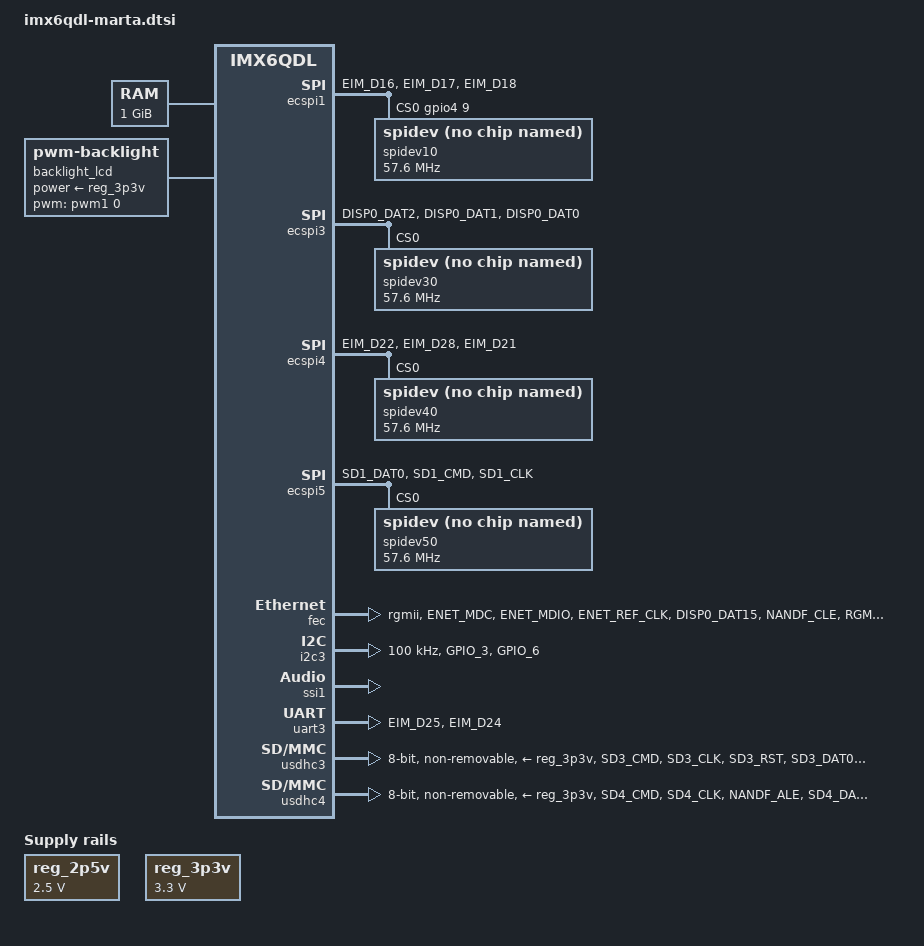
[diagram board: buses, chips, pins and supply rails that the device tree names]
/*
 * Copyright 2011-2015 Freescale Semiconductor, Inc.
 * Copyright 2011 Linaro Ltd.
 *
 * The code contained herein is licensed under the GNU General Public
 * License. You may obtain a copy of the GNU General Public License
 * Version 2 or later at the following locations:
 *
 * http://www.opensource.org/licenses/gpl-license.html
 * http://www.gnu.org/copyleft/gpl.html
 */
#include <dt-bindings/gpio/gpio.h>
#include <dt-bindings/input/input.h>

/ {
	
	chosen {
		stdout-path = &uart3;
	};

	memory {
		reg = <0x10000000 0x40000000>;
	};

	regulators {
		compatible = "simple-bus";
		#address-cells = <1>;
		#size-cells = <0>;

		reg_2p5v: regulator@0 {
			compatible = "regulator-fixed";
			reg = <0>;
			regulator-name = "2P5V";
			regulator-min-microvolt = <2500000>;
			regulator-max-microvolt = <2500000>;
			regulator-always-on;
		};

		reg_3p3v: regulator@1 {
			compatible = "regulator-fixed";
			reg = <1>;
			regulator-name = "3P3V";
			regulator-min-microvolt = <3300000>;
			regulator-max-microvolt = <3300000>;
			regulator-always-on;
		};

		//reg_usb_otg_vbus: regulator@2 {
			//compatible = "regulator-fixed";
			//reg = <2>;
			//regulator-name = "usb_otg_vbus";
			//regulator-min-microvolt = <5000000>;
			//regulator-max-microvolt = <5000000>;
			//gpio = <&gpio3 22 0>;
			//enable-active-high;
		//};
	};

	//gpio-keys {
		//compatible = "gpio-keys";
		//pinctrl-names = "default";
		//pinctrl-0 = <&pinctrl_gpio_keys>;

		//power {
			//label = "Power Button";
			//gpios = <&gpio2 3 GPIO_ACTIVE_LOW>;
			//linux,code = <KEY_POWER>;
			//gpio-key,wakeup;
		//};

		//menu {
			//label = "Menu";
			//gpios = <&gpio2 1 GPIO_ACTIVE_LOW>;
			//linux,code = <KEY_MENU>;
		//};

		//home {
			//label = "Home";
			//gpios = <&gpio2 4 GPIO_ACTIVE_LOW>;
			//linux,code = <KEY_HOME>;
		//};

		//back {
			//label = "Back";
			//gpios = <&gpio2 2 GPIO_ACTIVE_LOW>;
			//linux,code = <KEY_BACK>;
		//};

		//volume-up {
			//label = "Volume Up";
			//gpios = <&gpio7 13 GPIO_ACTIVE_LOW>;
			//linux,code = <KEY_VOLUMEUP>;
		//};

		//volume-down {
			//label = "Volume Down";
			//gpios = <&gpio4 5 GPIO_ACTIVE_LOW>;
			//linux,code = <KEY_VOLUMEDOWN>;
		//};
	//};

	//sound {
		//compatible = "fsl,imx6q-sabrelite-sgtl5000",
			     //"fsl,imx-audio-sgtl5000";
		//model = "imx6q-sabrelite-sgtl5000";
		//ssi-controller = <&ssi1>;
		//audio-codec = <&codec>;
		//audio-routing =
			//"MIC_IN", "Mic Jack",
			//"Mic Jack", "Mic Bias",
			//"Headphone Jack", "HP_OUT";
		//mux-int-port = <1>;
		//mux-ext-port = <4>;
	//};

	backlight_lcd {
		compatible = "pwm-backlight";
		pwms = <&pwm1 0 500>;
		brightness-levels = <0 1 2 3 4 5 6 7 8 9 10 11 12 13 14 15 16 17 18 19 20 21 22 23 24 25 26 27 28 29 30 31 32 33 34 35 36 37 38 39 40 41 42 43 44 45 46 47 48 49 50 51 52 53 54 55 56 57 58 59 60 61 62 63 64 65 66 67 68 69 70 71 72 73 74 75 76 77 78 79 80 81 82 83 84 85 86 87 88 89 90 91 92 93 94 95 96 97 98 99 100 101 102 103 104 105 106 107 108 109 110 111 112 113 114 115 116 117 118 119 120 121 122 123 124 125 126 127 128 129 130 131 132 133 134 135 136 137 138 139 140 141 142 143 144 145 146 147 148 149 150 151 152 153 154 155 156 157 158 159 160 161 162 163 164 165 166 167 168 169 170 171 172 173 174 175 176 177 178 179 180 181 182 183 184 185 186 187 188 189 190 191 192 193 194 195 196 197 198 199 200 201 202 203 204 205 206 207 208 209 210 211 212 213 214 215 216 217 218 219 220 221 22 223 224 225 226 227 228 229 230 231 232 233 234 235 236 237 238 239 240 241 242 243 244 245 246 247 248 249 250 251 252 253 254 255>;
		default-brightness-level = <128>;
		power-supply = <&reg_3p3v>;
		status = "okay";
	};

	//backlight_lvds {
		//compatible = "pwm-backlight";
		//pwms = <&pwm4 0 5000000>;
		//brightness-levels = <0 4 8 16 32 64 128 255>;
		//default-brightness-level = <7>;
		//power-supply = <&reg_3p3v>;
		//status = "okay";
	//};
};

//&audmux {
	//pinctrl-names = "default";
	//pinctrl-0 = <&pinctrl_audmux>;
	//status = "okay";
//};

&ecspi1 {
  fsl,spi-num-chipselects = <1>;
  cs-gpios = <&gpio4 9 0>;	//active high
  pinctrl-names = "default";
  pinctrl-0 = <&pinctrl_ecspi1_1>;
  status = "okay";
  spidev10@0 {
        compatible = "spidev";
        spi-max-frequency = <57600000>;
         reg = <0>;
        #address-cells = <1>;
		#size-cells = <1>;
        };
};

&ecspi3 {
  fsl,spi-num-chipselects = <4>;
  //cs-gpios = <&gpio4 24 0>;
  pinctrl-names = "default";
  pinctrl-0 = <&pinctrl_ecspi3_1>;
  status = "okay";
  spidev30@0 {
        compatible = "spidev";
        spi-max-frequency = <57600000>;
        reg = <0>;
        #address-cells = <1>;
		#size-cells = <1>;
        };
};

&ecspi4 {
  fsl,spi-num-chipselects = <1>;
  //cs-gpios = <&gpio3 20 0>;	//active high
  pinctrl-names = "default";
  pinctrl-0 = <&pinctrl_ecspi4_1>;
  status = "okay";
  spidev40@0 {
        compatible = "spidev";
        spi-max-frequency = <57600000>;
         reg = <0>;
        #address-cells = <1>;
		#size-cells = <1>;
        };
};

&ecspi5 {
  fsl,spi-num-chipselects = <4>;
  //cs-gpios = <&gpio1 17 0>;
  pinctrl-names = "default";
  pinctrl-0 = <&pinctrl_ecspi5_1>;
  status = "okay";
  spidev50@0 {
        compatible = "spidev";
        spi-max-frequency = <57600000>;
         reg = <0>;
        #address-cells = <1>;
		#size-cells = <1>;
        };
};

&fec {
	pinctrl-names = "default";
	pinctrl-0 = <&pinctrl_enet>;
	phy-mode = "rgmii";
	//phy-reset-gpios = <&gpio1 25 0>;
	status = "okay";
};

//&i2c1 {
	//clock-frequency = <100000>;
	//pinctrl-names = "default";
	//pinctrl-0 = <&pinctrl_i2c1>;
	//status = "okay";

	//codec: sgtl5000@0a {
		//compatible = "fsl,sgtl5000";
		//reg = <0x0a>;
		//clocks = <&clks 201>;
		//VDDA-supply = <&reg_2p5v>;
		//VDDIO-supply = <&reg_3p3v>;
	//};
//};

//&i2c2 {
	//clock-frequency = <100000>;
	//pinctrl-names = "default";
	//pinctrl-0 = <&pinctrl_i2c2>;
	//status = "okay";
//};

&i2c3 {
        clock-frequency = <100000>;
        pinctrl-names = "default";
		pinctrl-0 = <&pinctrl_i2c3_1>;
        status = "okay";
        
        //clocks = <&clks IMX6QDL_CLK_I2C3>;
        
        //adc: ad7091r@23 {
		//	compatible = "adi,ad7091r5";
		//	reg = <0x23>;
			//#address-cells = <1>;
			//#size-cells = <0>;
		//};
};

&iomuxc {
	pinctrl-names = "default";
	pinctrl-0 = <&pinctrl_hog>;

	imx6q-sabrelite {
		pinctrl_hog: hoggrp {
			fsl,pins = <
				/* SGTL5000 sys_mclk */
				//MX6QDL_PAD_GPIO_0__CCM_CLKO1    0x030b0
				
				//=====GPIO OUTPUT DD1===================================================
				MX6QDL_PAD_EIM_LBA__GPIO2_IO27 0x4001F0B0 //EIM_LBA__GPIO2_IO27  K22  SPARE_1_OUT_CPU - 59
				MX6QDL_PAD_EIM_OE__GPIO2_IO25 0x4001F0B0 //EIM_OE__GPIO2_IO25   J24  SPARE_3_OUT_CPU - 57
				MX6QDL_PAD_EIM_RW__GPIO2_IO26 0x4001F0B0 //EIM_RW__GPIO2_IO26   K20  SPARE_2_OUT_CPU - 58
			
				MX6QDL_PAD_EIM_CS0__GPIO2_IO23 0x4001F0B0 //EIM_CS0__GPIO2_IO23  H24  RESET_ADC_CPU - 55
				MX6QDL_PAD_EIM_CS1__GPIO2_IO24 0x4001F0B0 //EIM_CS1__GPIO2_IO24  J23  SKR_PWR_CTR_CPU - 56
			
				MX6QDL_PAD_EIM_A16__GPIO2_IO22 0x4001F0B0 //EIM_A16__GPIO2_IO22  H25  EASAU_CPU - 54
				MX6QDL_PAD_EIM_A17__GPIO2_IO21 0x4001F0B0 //EIM_A17__GPIO2_IO21  G24  EEO_CPU - 53
				MX6QDL_PAD_EIM_A18__GPIO2_IO20 0x4001F0B0 //EIM_A18__GPIO2_IO20  J22  ESS_CPU - 52
				MX6QDL_PAD_EIM_A19__GPIO2_IO19 0x4001F0B0 //EIM_A19__GPIO2_IO19  G25  EPA_CPU - 51
				MX6QDL_PAD_EIM_A20__GPIO2_IO18 0x4001F0B0 //EIM_A20__GPIO2_IO18  H22  EDB_CPU - 50
				MX6QDL_PAD_EIM_A21__GPIO2_IO17 0x4001F0B0 //EIM_A21__GPIO2_IO17  H23  EFB_CPU - 49
				MX6QDL_PAD_EIM_A22__GPIO2_IO16 0x4001F0B0 //EIM_A22__GPIO2_IO16  F24  EAB_CPU - 48
				MX6QDL_PAD_EIM_A23__GPIO6_IO06 0x4001F0B0 //EIM_A23__GPIO6_IO06  J21  GPIO6_06_UNUSED - 166
				MX6QDL_PAD_EIM_A24__GPIO5_IO04 0x4001F0B0 //EIM_A24__GPIO5_IO04  F25  INH_SORVOLO_CPU - 132
			
				MX6QDL_PAD_EIM_A25__GPIO5_IO02 0x4001F0B0 //EIM_A25__GPIO5_IO02  H19  EBT_CPU - 130
			
				MX6QDL_PAD_EIM_D23__GPIO3_IO23 0x4001F0B0 //EIM_D23__GPIO3_IO23  D25  UART3_CTS_B_CPU - 87
			
				MX6QDL_PAD_EIM_EB2__GPIO2_IO30 0x4001F0B0 //EIM_EB2__GPIO2_IO30  E22  CMD_SPIRA_CPU - 62
				MX6QDL_PAD_EIM_EB3__GPIO2_IO31 0x4001F0B0 //EIM_EB3__GPIO2_IO31  F23  INH_G_SWITCH_CPU - 63
			
				MX6QDL_PAD_EIM_BCLK__GPIO6_IO31 0x4001F0B0 //EIM_BCLK__GPIO6_IO31 N22  EBT_SK_CPU - 191
				MX6QDL_PAD_EIM_WAIT__GPIO5_IO00 0x4001F0B0 //EIM_WAIT__GPIO5_IO00 M25  BIT_L_CPU - 128
			
				MX6QDL_PAD_EIM_EB0__GPIO2_IO28 0x4001F0B0 //EIM_EB0__GPIO2_IO28  K21  GPIO2_IO28_UNUSED - 60
			
				MX6QDL_PAD_GPIO_2__GPIO1_IO02 0x4001F0B0 //GPIO_2__GPIO1_IO02     T1  IT_UC - 2
								
				MX6QDL_PAD_CSI0_PIXCLK__GPIO5_IO18 0x4001F0B0 //CSI0_PIXCLK__GPIO5_IO18  P1  ARM_EVENTO - 146
				MX6QDL_PAD_CSI0_DATA_EN__GPIO5_IO20 0x4001F0B0 //CSI0_DATA_EN__GPIO5_IO20 P3  ARM_TRACE_CLK - 148
				MX6QDL_PAD_CSI0_VSYNC__GPIO5_IO21 0x4001F0B0 //CSI0_VSYNC__GPIO5_IO21   N2  ARM_TRACE00 - 149
				MX6QDL_PAD_CSI0_DAT4__GPIO5_IO22 0x4001F0B0 //CSI0_DAT4__GPIO5_IO22    N1  ARM_TRACE01 - 150
				MX6QDL_PAD_CSI0_DAT5__GPIO5_IO23 0x4001F0B0 //CSI0_DAT5__GPIO5_IO23    P2  ARM_TRACE02 - 151
				MX6QDL_PAD_CSI0_DAT6__GPIO5_IO24 0x4001F0B0 //CSI0_DAT6__GPIO5_IO24    N4  ARM_TRACE03 - 152
				MX6QDL_PAD_CSI0_DAT7__GPIO5_IO25 0x4001F0B0 //CSI0_DAT7__GPIO5_IO25    N3  ARM_TRACE04 - 153
				MX6QDL_PAD_CSI0_DAT8__GPIO5_IO26 0x4001F0B0 //CSI0_DAT8__GPIO5_IO26    N6  ARM_TRACE05 - 154
				MX6QDL_PAD_CSI0_DAT9__GPIO5_IO27 0x4001F0B0 //CSI0_DAT9__GPIO5_IO27    N5  ARM_TRACE06 - 155
				MX6QDL_PAD_CSI0_DAT10__GPIO5_IO28 0x4001F0B0 //CSI0_DAT10__GPIO5_IO28    M1  ARM_TRACE07 - 156
			
				MX6QDL_PAD_DISP0_DAT8__GPIO4_IO29 0x4001F0B0 //DISP0_DAT8__GPIO4_IO29  R22  CMD_CONSENSOFUOCO_CPU - 125
				MX6QDL_PAD_DISP0_DAT9__GPIO4_IO30 0x4001F0B0 //DISP0_DAT9__GPIO4_IO30  T25  CMD_FMP_INT_CPU - 126
			
				MX6QDL_PAD_DISP0_DAT11__GPIO5_IO05 0x4001F0B0 //DISP0_DAT11__GPIO5_IO05  T23  SENS_D00_CPU - 133
				MX6QDL_PAD_DISP0_DAT12__GPIO5_IO06 0x4001F0B0 //DISP0_DAT12__GPIO5_IO06  T24  SENS_D01_CPU - 134
				MX6QDL_PAD_DISP0_DAT13__GPIO5_IO07 0x4001F0B0 //DISP0_DAT13__GPIO5_IO07  R20  OK_CPU - 135
				MX6QDL_PAD_DISP0_DAT14__GPIO5_IO08 0x4001F0B0 //DISP0_DAT14__GPIO5_IO08  U25  GO_SW_CPU - 136
			
				MX6QDL_PAD_DISP0_DAT16__GPIO5_IO10 0x4001F0B0 //DISP0_DAT16__GPIO5_IO10  T21  SEL_ANT_CPU - 138
				MX6QDL_PAD_DISP0_DAT17__GPIO5_IO11 0x4001F0B0 //DISP0_DAT17__GPIO5_IO11  U24  RESET_L_CPU - 139
			
				MX6QDL_PAD_KEY_ROW4__GPIO4_IO15 0x4001F0B0 //KEY_ROW4__GPIO4_IO15  V5  USB_OTGPWR_EN - 111
				MX6QDL_PAD_GPIO_19__GPIO4_IO05 0x4001F0B0 //GPIO_19__GPIO4_IO05  P5  IMX6_SPARE_LED - 101
			
				MX6QDL_PAD_NANDF_D0__GPIO2_IO00 0x4001F0B0 //NANDF_D0__GPIO2_IO00  A18  TFUEL_RANGE_SLC - 32
				MX6QDL_PAD_NANDF_D1__GPIO2_IO01 0x4001F0B0 //NANDF_D1__GPIO2_IO01  C17  MAINT_SK_CPU - 33
				MX6QDL_PAD_NANDF_D2__GPIO2_IO02 0x4001F0B0 //NANDF_D2__GPIO2_IO02  F16  ID_00_CPU - 34
				MX6QDL_PAD_NANDF_D3__GPIO2_IO03 0x4001F0B0 //NANDF_D3__GPIO2_IO03  D17  ID_01_CPU - 35
				MX6QDL_PAD_NANDF_D4__GPIO2_IO04 0x4001F0B0 //NANDF_D4__GPIO2_IO04  A19  SAFE_SPOLETTA_CPU - 36
				MX6QDL_PAD_NANDF_D5__GPIO2_IO05 0x4001F0B0 //NANDF_D5__GPIO2_IO05  B18  ENABLE_DL_CPU - 37
				MX6QDL_PAD_NANDF_D6__GPIO2_IO06 0x4001F0B0 //NANDF_D6__GPIO2_IO06  E17  ESA_CPU - 38
				MX6QDL_PAD_NANDF_D7__GPIO2_IO07 0x4001F0B0 //NANDF_D7__GPIO2_IO07  C18  ESF_CPU - 39
				
				//NON SETTARE COME OUTPUT SPI1_CS0 AUTOMATICO
				//MX6QDL_PAD_KEY_ROW1__GPIO4_IO09 0x4001F0B0 //KEY_ROW1__GPIO4_IO09   ECSPI1_UC_SS0  - 105
	
				MX6QDL_PAD_DISP0_DAT3__GPIO4_IO24 0x4001F0B0 //DISP0_DAT3__GPIO4_IO24  P21  ECSPI3_SS0 - 120
				MX6QDL_PAD_DISP0_DAT4__GPIO4_IO25 0x4001F0B0 //DISP0_DAT4__GPIO4_IO25  P20  ECSPI3_SS1 - 121
				MX6QDL_PAD_DISP0_DAT5__GPIO4_IO26 0x4001F0B0 //DISP0_DAT5__GPIO4_IO26  R25  ECSPI3_SS2 - 122
				MX6QDL_PAD_DISP0_DAT6__GPIO4_IO27 0x4001F0B0 //DISP0_DAT6__GPIO4_IO27  R23  ECSPI3_SS3 - 123
			
				MX6QDL_PAD_EIM_D20__GPIO3_IO20 0x4001F0B0 //EIM_D20__GPIO3_IO20  G20  ECSPI4_SS0 - 84
			
				MX6QDL_PAD_SD1_DAT1__GPIO1_IO17 0x4001F0B0 //SD1_DAT1__GPIO1_IO17  C20  ECSPI5_SS0 - 17
				MX6QDL_PAD_SD1_DAT2__GPIO1_IO19 0x4001F0B0 //SD1_DAT2__GPIO1_IO19  E19  ECSPI5_SS1 - 19
				MX6QDL_PAD_SD1_DAT3__GPIO1_IO21 0x4001F0B0 //SD1_DAT3__GPIO1_IO21  F18  ECSPI5_SS2 - 21
				MX6QDL_PAD_SD2_DAT3__GPIO1_IO12 0x4001F0B0 //SD2_DAT3__GPIO1_IO12  B22  ECSPI5_SS3 - 12
	
				//=====GPIO INPUT DD1===================================================
				MX6QDL_PAD_EIM_D26__GPIO3_IO26 0x80000000    //EIM_D26__GPIO3_IO26   E24 SPARE_1_IN_CPU - 90
				MX6QDL_PAD_EIM_D19__GPIO3_IO19 0x80000000    //EIM_D19__GPIO3_IO19   G21 SPARE_2_IN_CPU - 83
				MX6QDL_PAD_EIM_D27__GPIO3_IO27 0x80000000    //EIM_D27__GPIO3_IO27   E25 SPARE_3_IN_CPU - 91
				MX6QDL_PAD_EIM_D31__GPIO3_IO31 0x80000000    //EIM_D31__GPIO3_IO31   H21 UART3_RTS_B_CPU - 95
			
				MX6QDL_PAD_EIM_D29__GPIO3_IO29 0x80000000    //EIM_D29__GPIO3_IO29   J19 CK_PLUG_0_CPU - 93
				MX6QDL_PAD_EIM_D30__GPIO3_IO30 0x80000000    //EIM_D30__GPIO3_IO30   J20 CK_PLUG_1_CPU - 94
			
				MX6QDL_PAD_CSI0_MCLK__GPIO5_IO19 0x80000000  //CSI0_MCLK__GPIO5_IO19     P4  ARM_TRACE_CTL - 147
				MX6QDL_PAD_CSI0_DAT11__GPIO5_IO29 0x80000000 //CSI0_DAT11__GPIO5_IO29    M3  ARM_TRACE_08 - 157
				MX6QDL_PAD_CSI0_DAT12__GPIO5_IO30 0x80000000 //CSI0_DAT12__GPIO5_IO30    M2  ARM_TRACE_09 - 158
				MX6QDL_PAD_CSI0_DAT13__GPIO5_IO31 0x80000000 //CSI0_DAT13__GPIO5_IO31    L1  ARM_TRACE_10 - 159
				MX6QDL_PAD_CSI0_DAT14__GPIO6_IO00 0x80000000 //CSI0_DAT14__GPIO6_IO00    M4  ARM_TRACE_11 - 160
				MX6QDL_PAD_CSI0_DAT15__GPIO6_IO01 0x80000000 //CSI0_DAT15__GPIO6_IO01    M5  ARM_TRACE_12 - 161
				MX6QDL_PAD_CSI0_DAT16__GPIO6_IO02 0x80000000 //CSI0_DAT16__GPIO6_IO02    L4  ARM_TRACE_13 - 162
				MX6QDL_PAD_CSI0_DAT17__GPIO6_IO03 0x80000000 //CSI0_DAT17__GPIO6_IO03    L3  ARM_TRACE_14 - 163
				MX6QDL_PAD_CSI0_DAT18__GPIO6_IO04 0x80000000 //CSI0_DAT18__GPIO6_IO04    M6  ARM_TRACE_15 - 164
				MX6QDL_PAD_GPIO_5__GPIO1_IO05 0x80000000     //GPIO_5__GPIO1_IO05        R4  ARM_EVENTI  - 5
			
				MX6QDL_PAD_GPIO_4__GPIO1_IO04 0x80000000 //GPIO_4__GPIO1_IO04     R6  IT_SL_1 - 4
				MX6QDL_PAD_GPIO_7__GPIO1_IO07 0x80000000 //GPIO_7__GPIO1_IO07     R3  IT_SL_2 - 7
				MX6QDL_PAD_GPIO_8__GPIO1_IO08 0x80000000 //GPIO_8__GPIO1_IO08     R5  IT_SL_3 - 8
				MX6QDL_PAD_GPIO_9__GPIO1_IO09 0x80000000 //GPIO_9__GPIO1_IO09     T2  IT_SL_4 - 9
				MX6QDL_PAD_SD2_CMD__GPIO1_IO11 0x80000000 //SD2_CMD__GPIO1_IO11    F19  IT_SL_5 - 11
				MX6QDL_PAD_SD2_CLK__GPIO1_IO10 0x80000000 //SD2_CLK__GPIO1_IO10    C21  IT_SL_6 - 10
				MX6QDL_PAD_SD2_DAT0__GPIO1_IO15 0x80000000 //SD2_DAT0__GPIO1_IO15   A22  IT_SL_7 - 15
				MX6QDL_PAD_SD2_DAT1__GPIO1_IO14 0x80000000 //SD2_DAT1__GPIO1_IO14   E20  IT_SL_8 - 14
				MX6QDL_PAD_SD2_DAT2__GPIO1_IO13 0x80000000 //SD2_DAT2__GPIO1_IO13   A23  IT_SL_10 - 13
				
				MX6QDL_PAD_CSI0_DAT19__GPIO6_IO05 0x80000000   //CSI0_DAT19__GPIO6_IO05    L6    SPARE2_ARTIX7 - 165
			
				MX6QDL_PAD_DI0_DISP_CLK__GPIO4_IO16 0x80000000 //DI0_DISP_CLK__GPIO4_IO16  N19   CK_PRES_BT2_CPU - 112
				MX6QDL_PAD_DI0_PIN15__GPIO4_IO17 0x80000000    //DI0_PIN15__GPIO4_IO17     N21   OK_GPS_CPU - 113
				MX6QDL_PAD_DI0_PIN2__GPIO4_IO18 0x80000000     //DI0_PIN2__GPIO4_IO18      N25   OK_SPOLETTA_CPU - 114
				MX6QDL_PAD_DI0_PIN3__GPIO4_IO19 0x80000000     //DI0_PIN3__GPIO4_IO19      N20   OK_DL_CPU - 115
				MX6QDL_PAD_DI0_PIN4__GPIO4_IO20 0x80000000     //DI0_PIN4__GPIO4_IO20      P25   OK_PS_TH_CPU - 116
			
				MX6QDL_PAD_DISP0_DAT7__GPIO4_IO28 0x80000000   //DISP0_DAT7__GPIO4_IO28    R24   STATUS_ANT_CPU - 124
				MX6QDL_PAD_DISP0_DAT10__GPIO4_IO31 0x80000000  //DISP0_DAT10__GPIO4_IO31   R21   OK_PS_SWRF_CPU - 127
			
				MX6QDL_PAD_DISP0_DAT18__GPIO5_IO12 0x80000000  //DISP0_DAT18__GPIO5_IO12   V25   LOOPBACK_SIGNAL_CPU - 140
				MX6QDL_PAD_DISP0_DAT19__GPIO5_IO13 0x80000000  //DISP0_DAT19__GPIO5_IO13   U23   OK_BT_SK_PSB_CPU - 141
				MX6QDL_PAD_DISP0_DAT20__GPIO5_IO14 0x80000000  //DISP0_DAT20__GPIO5_IO14   U22   OK_PS_WCU_CPU - 142
				MX6QDL_PAD_DISP0_DAT21__GPIO5_IO15 0x80000000  //DISP0_DAT21__GPIO5_IO15   T20   GO_HW_CPU - 143
				MX6QDL_PAD_DISP0_DAT22__GPIO5_IO16 0x80000000  //DISP0_DAT22__GPIO5_IO16   V24   GO_NOGO_MSL_CPU - 144
				MX6QDL_PAD_DISP0_DAT23__GPIO5_IO17 0x80000000  //DISP0_DAT23__GPIO5_IO17   W24   GO_NOGO_UA_CPU - 145
			
				MX6QDL_PAD_ENET_CRS_DV__GPIO1_IO25 0x80000000 //ENET_CRS_DV__GPIO1_IO25  U21   FAILSAFE_ENABLE_CPU - 25
				MX6QDL_PAD_ENET_RX_ER__GPIO1_IO24 0x80000000  //ENET_RX_ER__GPIO1_IO24   W23   CK_BT2_CPU - 24
				MX6QDL_PAD_ENET_TX_EN__GPIO1_IO28 0x80000000  //ENET_TX_EN__GPIO1_IO28   V21   TB2_CPU - 28
				MX6QDL_PAD_ENET_RXD0__GPIO1_IO27 0x80000000   //ENET_RXD0__GPIO1_IO27    W21   OK_TIMER_CPU - 27
				MX6QDL_PAD_ENET_RXD1__GPIO1_IO26 0x80000000   //ENET_RXD1__GPIO1_IO26    W22   TELLBACKBT1_CPU - 26
				MX6QDL_PAD_ENET_TXD0__GPIO1_IO30 0x80000000   //ENET_TXD0__GPIO1_IO30    U20   FUS_BT1_CPU - 30
				MX6QDL_PAD_ENET_TXD1__GPIO1_IO29 0x80000000   //ENET_TXD1__GPIO1_IO29    W20   FUS_BT2_CPU - 29
			
				MX6QDL_PAD_KEY_COL0__GPIO4_IO06 0x80000000    //KEY_COL0__GPIO4_IO06     W5    GPIO4_IO06_UNUSED - 102
				MX6QDL_PAD_KEY_ROW0__GPIO4_IO07 0x80000000    //KEY_ROW0__GPIO4_IO07     V6    PB_SX_CPU - 103
				MX6QDL_PAD_KEY_COL1__GPIO4_IO08 0x80000000    //KEY_COL1__GPIO4_IO08     U7    PB_DX_CPU - 104
				MX6QDL_PAD_KEY_COL2__GPIO4_IO10 0x80000000    //KEY_COL2__GPIO4_IO10     W6    GO_SC_CPU - 106
				MX6QDL_PAD_KEY_ROW2__GPIO4_IO11 0x80000000    //KEY_ROW2__GPIO4_IO11     W4    FUS_SK_CPU - 107
				MX6QDL_PAD_KEY_COL3__GPIO4_IO12 0x80000000    //KEY_COL3__GPIO4_IO12     U5    SPARE1_ARTIX7 - 108
				MX6QDL_PAD_KEY_ROW3__GPIO4_IO13 0x80000000    //KEY_ROW3__GPIO4_IO13     T7    T0_MSL_CPU - 109
				MX6QDL_PAD_KEY_COL4__GPIO4_IO14 0x80000000    //KEY_COL4__GPIO4_IO14     T6    USB_OTG_OC - 110
			
				MX6QDL_PAD_GPIO_0__GPIO1_IO00 0x80000000      //GPIO_0__GPIO1_IO00     T5    MAINT_SEL_CPU - 0
				MX6QDL_PAD_GPIO_1__GPIO1_IO01 0x80000000      //GPIO_1__GPIO1_IO01     T4    USB_OTG_ID - 1
			
				MX6QDL_PAD_GPIO_16__GPIO7_IO11 0x80000000     //GPIO_16__GPIO7_IO11    R2    OK_TH_CPU - 203
				MX6QDL_PAD_GPIO_17__GPIO7_IO12 0x80000000     //GPIO_17__GPIO7_IO12    R1    GPIO7_12_UNUSED - 204
				MX6QDL_PAD_GPIO_18__GPIO7_IO13 0x80000000     //GPIO_18__GPIO7_IO13    P6    TELLBACKBT2_CPU - 205
			
				MX6QDL_PAD_NANDF_CS0__GPIO6_IO11 0x80000000   //NANDF_CS0__GPIO6_IO11  F15    STATO_D2_CPU - 171
				MX6QDL_PAD_NANDF_CS1__GPIO6_IO14 0x80000000   //NANDF_CS0__GPIO6_IO14  C16    TERMINATE_CMD_1_CPU - 174
				MX6QDL_PAD_NANDF_CS2__GPIO6_IO15 0x80000000   //NANDF_CS0__GPIO6_IO15  A17    TERMINATE_CMD_2_CPU - 175
				MX6QDL_PAD_NANDF_CS3__GPIO6_IO16 0x80000000   //NANDF_CS0__GPIO6_IO16  D16    STATO_D1_CPU - 176
				MX6QDL_PAD_NANDF_WP_B__GPIO6_IO09 0x80000000  //NANDF_WP_B__GPIO6_IO09  E15    CTR_TELLBACKBT2_CPU - 169
				MX6QDL_PAD_NANDF_RB0__GPIO6_IO10 0x80000000   //NANDF_RB0__GPIO6_IO10  B16    T0_CONN_CPU - 170
				
				//BOOT CFG
				MX6QDL_PAD_EIM_EB1__GPIO2_IO29 0x80000000 //BOOT_CFG_EIM_EB1
				MX6QDL_PAD_EIM_DA0__GPIO3_IO00 0x80000000 //BOOT_CFG_EIM_DA0
				MX6QDL_PAD_EIM_DA1__GPIO3_IO01 0x80000000 //BOOT_CFG_EIM_DA1
				MX6QDL_PAD_EIM_DA2__GPIO3_IO02 0x80000000 //BOOT_CFG_EIM_DA2
				MX6QDL_PAD_EIM_DA3__GPIO3_IO03 0x80000000 //BOOT_CFG_EIM_DA3
				MX6QDL_PAD_EIM_DA4__GPIO3_IO04 0x80000000 //BOOT_CFG_EIM_DA4
				MX6QDL_PAD_EIM_DA5__GPIO3_IO05 0x80000000 //BOOT_CFG_EIM_DA5
				MX6QDL_PAD_EIM_DA6__GPIO3_IO06 0x80000000 //BOOT_CFG_EIM_DA6
				MX6QDL_PAD_EIM_DA7__GPIO3_IO07 0x80000000 //BOOT_CFG_EIM_DA7
				MX6QDL_PAD_EIM_DA8__GPIO3_IO08 0x80000000 //BOOT_CFG_EIM_DA8
				MX6QDL_PAD_EIM_DA9__GPIO3_IO09 0x80000000 //BOOT_CFG_EIM_DA9
				MX6QDL_PAD_EIM_DA10__GPIO3_IO10 0x80000000 //BOOT_CFG_EIM_DA10
				MX6QDL_PAD_EIM_DA11__GPIO3_IO11 0x80000000 //BOOT_CFG_EIM_DA11
				MX6QDL_PAD_EIM_DA12__GPIO3_IO12 0x80000000 //BOOT_CFG_EIM_DA12
				MX6QDL_PAD_EIM_DA13__GPIO3_IO13 0x80000000 //BOOT_CFG_EIM_DA13
				MX6QDL_PAD_EIM_DA14__GPIO3_IO14 0x80000000 //BOOT_CFG_EIM_DA14
				MX6QDL_PAD_EIM_DA15__GPIO3_IO15 0x80000000 //BOOT_CFG_EIM_DA15
			>;
		};

		//pinctrl_audmux: audmuxgrp {
			//fsl,pins = <
				//MX6QDL_PAD_SD2_DAT0__AUD4_RXD		0x130b0
				//MX6QDL_PAD_SD2_DAT3__AUD4_TXC		0x130b0
				//MX6QDL_PAD_SD2_DAT2__AUD4_TXD		0x110b0
				//MX6QDL_PAD_SD2_DAT1__AUD4_TXFS		0x130b0
			//>;
		//};


		pinctrl_ecspi1_1: ecspi1grp-1 {
			 fsl,pins = <
				MX6QDL_PAD_EIM_D16__ECSPI1_SCLK 0x1b0b1
				MX6QDL_PAD_EIM_D17__ECSPI1_MISO 0x1b0b1
				MX6QDL_PAD_EIM_D18__ECSPI1_MOSI 0x1b0b1
				//MX6QDL_PAD_KEY_ROW1__GPIO4_IO09 0x1b0b1        
				>;
			};

		pinctrl_ecspi3_1: ecspi3grp-1 {
			fsl,pins = <
				MX6QDL_PAD_DISP0_DAT2__ECSPI3_MISO 0x1b0b1
				MX6QDL_PAD_DISP0_DAT1__ECSPI3_MOSI 0x1b0b1
				MX6QDL_PAD_DISP0_DAT0__ECSPI3_SCLK 0x1b0b1
				//MX6QDL_PAD_DISP0_DAT3__GPIO4_IO24 0x1b0b1
			>;
		};

		pinctrl_ecspi4_1: ecspi4grp-1 {
			fsl,pins = <
				MX6QDL_PAD_EIM_D22__ECSPI4_MISO 0x1b0b1
				MX6QDL_PAD_EIM_D28__ECSPI4_MOSI 0x1b0b1
				MX6QDL_PAD_EIM_D21__ECSPI4_SCLK 0x1b0b1
				//MX6QDL_PAD_EIM_D20__GPIO3_IO20 0x1b0b1
			>;
		};

		pinctrl_ecspi5_1: ecspi5grp-1 {
			fsl,pins = <
				MX6QDL_PAD_SD1_DAT0__ECSPI5_MISO 0x1b0b1
				MX6QDL_PAD_SD1_CMD__ECSPI5_MOSI 0x1b0b1
				MX6QDL_PAD_SD1_CLK__ECSPI5_SCLK 0x1b0b1
				//MX6QDL_PAD_SD1_DAT1__GPIO1_IO17 0x1b0b1
			>;
		};

		pinctrl_enet: enetgrp {
			fsl,pins = <
				MX6QDL_PAD_ENET_MDC__ENET_MDC         0x1b0b0
				MX6QDL_PAD_ENET_MDIO__ENET_MDIO       0x1b0b0
				MX6QDL_PAD_ENET_REF_CLK__ENET_TX_CLK  0x1b0b0
				//DD0
				//MX6QDL_PAD_ENET_CRS_DV__GPIO1_IO25 		0x80000000 /* RGMII_nRST*/
				//DD1
				MX6QDL_PAD_DISP0_DAT15__GPIO5_IO09 		0x80000000 /* RGMII_RST_PHY*/
				
				//DDO
                //MX6QDL_PAD_ENET_RXD1__GPIO1_IO26   		0x80000000 /* RGMII_INT */
                //DD1
                MX6QDL_PAD_NANDF_CLE__GPIO6_IO07   		0x80000000 /* RGMII_INT_PHY */
                
				MX6QDL_PAD_RGMII_TXC__RGMII_TXC       0x1b0b0
				MX6QDL_PAD_RGMII_TD0__RGMII_TD0       0x1b0b0
				MX6QDL_PAD_RGMII_TD1__RGMII_TD1       0x1b0b0
				MX6QDL_PAD_RGMII_TD2__RGMII_TD2       0x1b0b0
				MX6QDL_PAD_RGMII_TD3__RGMII_TD3       0x1b0b0
				MX6QDL_PAD_RGMII_TX_CTL__RGMII_TX_CTL 0x1b0b0
				
				MX6QDL_PAD_RGMII_RXC__RGMII_RXC       0x1b0b0
				MX6QDL_PAD_RGMII_RD0__RGMII_RD0       0x1b0b0
				MX6QDL_PAD_RGMII_RD1__RGMII_RD1       0x1b0b0
				MX6QDL_PAD_RGMII_RD2__RGMII_RD2       0x1b0b0
				MX6QDL_PAD_RGMII_RD3__RGMII_RD3       0x1b0b0
				MX6QDL_PAD_RGMII_RX_CTL__RGMII_RX_CTL 0x1b0b0
			>;
		};

		//pinctrl_gpio_keys: gpio_keysgrp {
			//fsl,pins = <
				/* Power Button */
				//MX6QDL_PAD_NANDF_D3__GPIO2_IO03		0x1b0b0
				/* Menu Button */
				//MX6QDL_PAD_NANDF_D1__GPIO2_IO01		0x1b0b0
				/* Home Button */
				//MX6QDL_PAD_NANDF_D4__GPIO2_IO04		0x1b0b0
				/* Back Button */
				//MX6QDL_PAD_NANDF_D2__GPIO2_IO02		0x1b0b0
				/* Volume Up Button */
				//MX6QDL_PAD_GPIO_18__GPIO7_IO13		0x1b0b0
				/* Volume Down Button */
				//MX6QDL_PAD_GPIO_19__GPIO4_IO05		0x1b0b0
			//>;
		//};

		//pinctrl_i2c1: i2c1grp {
			//fsl,pins = <
				//MX6QDL_PAD_EIM_D21__I2C1_SCL		0x4001b8b1
				//MX6QDL_PAD_EIM_D28__I2C1_SDA		0x4001b8b1
			//>;
		//};

		//pinctrl_i2c2: i2c2grp {
			//fsl,pins = <
				//MX6QDL_PAD_KEY_COL3__I2C2_SCL		0x4001b8b1
				//MX6QDL_PAD_KEY_ROW3__I2C2_SDA		0x4001b8b1
			//>;
		//};

		
		
		pinctrl_i2c3_1: i2c3grp-1 {
			fsl,pins = <
				MX6QDL_PAD_GPIO_3__I2C3_SCL 0x4001b8b1
				MX6QDL_PAD_GPIO_6__I2C3_SDA 0x4001b8b1
			>;
		};



		//pinctrl_pwm1: pwm1grp {
			//fsl,pins = <
				//MX6QDL_PAD_DISP0_DAT8__PWM1_OUT 0x1b0b1
			//>;
		//};

		//pinctrl_pwm3: pwm3grp {
			//fsl,pins = <
				//MX6QDL_PAD_SD1_DAT1__PWM3_OUT 0x1b0b1
			//>;
		//};

		//pinctrl_pwm4: pwm4grp {
			//fsl,pins = <
				//MX6QDL_PAD_SD1_CMD__PWM4_OUT 0x1b0b1
			//>;
		//};

		//pinctrl_uart1: uart1grp {
			//fsl,pins = <
				//MX6QDL_PAD_SD3_DAT7__UART1_TX_DATA	0x1b0b1
				//MX6QDL_PAD_SD3_DAT6__UART1_RX_DATA	0x1b0b1
			//>;
		//};

		//pinctrl_uart2: uart2grp {
			//fsl,pins = <
				//MX6QDL_PAD_EIM_D26__UART2_TX_DATA	0x1b0b1
				//MX6QDL_PAD_EIM_D27__UART2_RX_DATA	0x1b0b1
			//>;
		//};

		pinctrl_uart3: uart3grp {
			fsl,pins = <
				MX6QDL_PAD_EIM_D25__UART3_RX_DATA 0x1b0b1
				MX6QDL_PAD_EIM_D24__UART3_TX_DATA 0x1b0b1
			>;
		};

		//pinctrl_usbotg: usbotggrp {
			//fsl,pins = <
				//MX6QDL_PAD_GPIO_1__USB_OTG_ID		0x17059
				//MX6QDL_PAD_KEY_COL4__USB_OTG_OC	0x1b0b0
				/* power enable, high active */
				//MX6QDL_PAD_EIM_D22__GPIO3_IO22  0x000b0
			//>;
		//};

		pinctrl_usdhc3: usdhc3grp {
			fsl,pins = <
				MX6QDL_PAD_SD3_CMD__SD3_CMD		0x17059
				MX6QDL_PAD_SD3_CLK__SD3_CLK		0x10059
				MX6QDL_PAD_SD3_RST__SD3_RESET   0x17059
				MX6QDL_PAD_SD3_DAT0__SD3_DATA0	0x17059
				MX6QDL_PAD_SD3_DAT1__SD3_DATA1	0x17059
				MX6QDL_PAD_SD3_DAT2__SD3_DATA2	0x17059
				MX6QDL_PAD_SD3_DAT3__SD3_DATA3	0x17059
				MX6QDL_PAD_SD3_DAT4__SD3_DATA4  0x17059
				MX6QDL_PAD_SD3_DAT5__SD3_DATA5  0x17059
				MX6QDL_PAD_SD3_DAT6__SD3_DATA6  0x17059
				MX6QDL_PAD_SD3_DAT7__SD3_DATA7  0x17059
			>;
		};

		pinctrl_usdhc4: usdhc4grp {
			fsl,pins = <
				MX6QDL_PAD_SD4_CMD__SD4_CMD    0x17059
				MX6QDL_PAD_SD4_CLK__SD4_CLK    0x10059
				MX6QDL_PAD_NANDF_ALE__SD4_RESET 0x17059
				MX6QDL_PAD_SD4_DAT0__SD4_DATA0 0x17059
				MX6QDL_PAD_SD4_DAT1__SD4_DATA1 0x17059
				MX6QDL_PAD_SD4_DAT2__SD4_DATA2 0x17059
				MX6QDL_PAD_SD4_DAT3__SD4_DATA3 0x17059
				MX6QDL_PAD_SD4_DAT4__SD4_DATA4 0x17059
				MX6QDL_PAD_SD4_DAT5__SD4_DATA5 0x17059
				MX6QDL_PAD_SD4_DAT6__SD4_DATA6 0x17059
				MX6QDL_PAD_SD4_DAT7__SD4_DATA7 0x17059
			>;
		};
	};
};

//&ldb {
	//status = "okay";

	//lvds-channel@0 {
		//fsl,data-mapping = "spwg";
		//fsl,data-width = <18>;
		//status = "okay";

		//display-timings {
			//native-mode = <&timing0>;
			//timing0: hsd100pxn1 {
				//clock-frequency = <65000000>;
				//hactive = <1024>;
				//vactive = <768>;
				//hback-porch = <220>;
				//hfront-porch = <40>;
				//vback-porch = <21>;
				//vfront-porch = <7>;
				//hsync-len = <60>;
				//vsync-len = <10>;
			//};
		//};
	//};
//};

//&pcie {
	//status = "okay";
//};

//&pwm1 {
//	pinctrl-names = "default";
//	pinctrl-0 = <&pinctrl_pwm1>;
//	status = "okay";
//};

//&pwm3 {
	//pinctrl-names = "default";
	//pinctrl-0 = <&pinctrl_pwm3>;
	//status = "okay";
//};

//&pwm4 {
	//pinctrl-names = "default";
	//pinctrl-0 = <&pinctrl_pwm4>;
	//status = "okay";
//};

&ssi1 {
	status = "okay";
};

//&uart1 {
	//pinctrl-names = "default";
	//pinctrl-0 = <&pinctrl_uart1>;
	//status = "okay";
//};

//&uart2 {
	//pinctrl-names = "default";
	//pinctrl-0 = <&pinctrl_uart2>;
	//status = "okay";
//};
&uart3 {
	pinctrl-names = "default";
	pinctrl-0 = <&pinctrl_uart3>;
	status = "okay";
};

//&usbh1 {
	//status = "okay";
//};

//&usbotg {
	//vbus-supply = <&reg_usb_otg_vbus>;
	//pinctrl-names = "default";
	//pinctrl-0 = <&pinctrl_usbotg>;
	//disable-over-current;
	//srp-disable;
	//hnp-disable;
	//adp-disable;
	//status = "okay";
//};

&usdhc3 {
	pinctrl-names = "default";
	pinctrl-0 = <&pinctrl_usdhc3>;
	bus-width = <8>;
	non-removable;
	vmmc-supply = <&reg_3p3v>;
	status = "okay";
};

&usdhc4 {
	pinctrl-names = "default";
	pinctrl-0 = <&pinctrl_usdhc4>;
	bus-width = <8>;
	non-removable;
	vmmc-supply = <&reg_3p3v>;
	status = "okay";
};
